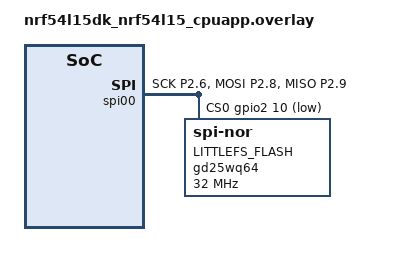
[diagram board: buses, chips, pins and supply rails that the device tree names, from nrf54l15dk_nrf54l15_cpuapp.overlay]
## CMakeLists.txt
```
cmake_minimum_required(VERSION 3.20.0)
find_package(Zephyr REQUIRED HINTS $ENV{ZEPHYR_BASE})

project(gd25wq64e_test)

target_sources(app PRIVATE 
    src/main.c
    src/eeprom.c
)
```

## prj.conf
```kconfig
CONFIG_SPI=y
CONFIG_GPIO=y
CONFIG_SERIAL=y
CONFIG_CONSOLE=y
CONFIG_UART_CONSOLE=y
CONFIG_PRINTK=y
```

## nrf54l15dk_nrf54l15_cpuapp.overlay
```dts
&pinctrl {
    spi00_default: spi00_default {
        group2 {
            psels = <NRF_PSEL(SPIM_SCK,  2, 6)>,
                    <NRF_PSEL(SPIM_MOSI, 2, 8)>,
                    <NRF_PSEL(SPIM_MISO, 2, 9)>;
            nordic,drive-mode = <NRF_DRIVE_H0H1>;
        };
    };
    spi00_sleep: spi00_sleep {
        group2 {
            psels = <NRF_PSEL(SPIM_SCK,  2, 6)>,
                    <NRF_PSEL(SPIM_MOSI, 2, 8)>,
                    <NRF_PSEL(SPIM_MISO, 2, 9)>;
            low-power-enable;
        };
    };
};

/delete-node/ &{/pin-controller/spi00_default/group1/};

&spi00 {
    status = "okay";
    compatible = "nordic,nrf-spim";

    pinctrl-0 = <&spi00_default>;
    pinctrl-1 = <&spi00_sleep>;
    pinctrl-names = "default", "sleep";

    cs-gpios = <&gpio2 10 (GPIO_ACTIVE_LOW | (1 << 8) | (1 << 9))>;

    mx25r64: mx25r6435f@0 {
        status = "disabled";
    };

    /* ---- YOUR NODE, CORRECTED ---- */
    gd25wq64: gd25wq64@0 {
        compatible = "jedec,spi-nor";
        status = "okay";
        reg = <0>;

        spi-max-frequency = <32000000>;
        jedec-id = [ c8 65 17 ];
        size = <0x800000>;

        // duplex       = <0>;
        // frame-format = <0>;

        label = "LITTLEFS_FLASH";
    };
};
```

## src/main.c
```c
#include <zephyr/kernel.h>
#include <zephyr/device.h>
#include <zephyr/drivers/spi.h>
#include <zephyr/sys/printk.h>
#include <string.h>
#include "eeprom.h"
#define FLASH_NODE DT_NODELABEL(gd25wq64)
#define TEST_ADDRESS 0x000000U
// this is  this is is  the githib to pc helloww i am bharath kumar
int main(void)
{
    int ret;
    uint8_t id[3] = {0};
    static const char write_msg[] = "Hello GD25WQ64E";
    uint8_t read_buf[sizeof(write_msg) - 1] = {0};

    printk("\n====================================\n");
    printk("    GD25WQ64E SPI FLASH TEST\n");
    printk("====================================\n");

    /* 1. SPI Ready & Power-on Delay */
    if (!spi_is_ready_dt(&(struct spi_dt_spec)SPI_DT_SPEC_GET(FLASH_NODE, SPI_WORD_SET(8), 0))) {
        printk("ERROR: SPI device not ready\n");
        return -1;
    }
    
    printk("Waiting for flash power-up...\n");
    k_msleep(50); 
    printk("SPI device ready\n");

    /* 2. Read JEDEC ID */
    printk("\nReading JEDEC ID...\n");
    ret = flash_read_jedec(id);
    if (ret != 0) {
        printk("JEDEC read failed: %d\n", ret);
        return ret;
    }
    printk("JEDEC ID: %02X %02X %02X\n", id[0], id[1], id[2]);

    if (id[0] != 0xC8 || id[1] != 0x65 || id[2] != 0x17) {
        printk("ERROR: Unexpected Flash ID\n");
        return -1;
    }
    printk("GD25WQ64E detected successfully\n");

    /* 3. Erase */
    printk("\nErasing sector...\n");
    ret = flash_sector_erase(TEST_ADDRESS);
    if (ret != 0) {
        printk("Sector erase failed: %d\n", ret);
        return ret;
    }
    printk("Sector erase successful\n");

    /* 4. Write */
    printk("\nWriting data...\n");
    printk("Message: %s\n", write_msg);
    ret = flash_page_program(TEST_ADDRESS, (const uint8_t *)write_msg, sizeof(write_msg) - 1);
    if (ret != 0) {
        printk("Page program failed: %d\n", ret);
        return ret;
    }
    printk("Data written successfully\n");

    /* 5. Sleep & Wake */
    printk("\nPutting flash into Deep Power-Down (Sleep)...\n");
    ret = flash_enter_sleep();
    if (ret != 0) return ret;

    k_msleep(1000); 
    printk("Flash is sleeping...\n");

    printk("\nWaking up flash...\n");
    ret = flash_wake_up();
    if (ret != 0) return ret;
    printk("Flash awake!\n");

    /* 6. Read & Verify */
    printk("\nReading data...\n");
    ret = flash_read_data(TEST_ADDRESS, read_buf, sizeof(read_buf));
    if (ret != 0) {
        printk("Flash read failed: %d\n", ret);
        return ret;
    }
    printk("Read data: %.*s\n", (int)sizeof(read_buf), read_buf);

    printk("\nVerifying data...\n");
    if (memcmp(write_msg, read_buf, sizeof(read_buf)) == 0) {
        printk("SUCCESS: DATA MATCHED\n");
    } else {
        printk("ERROR: DATA MISMATCH\n");
        return -1;
    }

    printk("\n====================================\n");
    printk("       FLASH TEST COMPLETED\n");
    printk("====================================\n");

    return 0;
}
```

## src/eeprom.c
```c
#include "eeprom.h"
#include <zephyr/devicetree.h>
#include <string.h>
#include <errno.h>

#define FLASH_NODE DT_NODELABEL(gd25wq64)

static const struct spi_dt_spec flash_spi =
    SPI_DT_SPEC_GET(FLASH_NODE, SPI_WORD_SET(8), 0);

/* GD25WQ64E SPI COMMANDS */
#define CMD_WREN         0x06
#define CMD_RDSR1        0x05
#define CMD_READ         0x03
#define CMD_PP           0x02
#define CMD_SE           0x20
#define CMD_RDID         0x9F
#define CMD_DP           0xB9  /* Deep Power-Down */
#define CMD_RDP          0xAB  /* Release from Deep Power-Down */

#define SR1_WIP          (1U << 0)

/* --- Private Helper Functions --- */

static int flash_read_status(uint8_t *status)
{
    uint8_t tx_buf[2] = { CMD_RDSR1, 0x00 };
    uint8_t rx_buf[2] = {0};

    struct spi_buf txb = { .buf = tx_buf, .len = sizeof(tx_buf) };
    struct spi_buf rxb = { .buf = rx_buf, .len = sizeof(rx_buf) };
    struct spi_buf_set tx = { .buffers = &txb, .count = 1 };
    struct spi_buf_set rx = { .buffers = &rxb, .count = 1 };

    int ret = spi_transceive_dt(&flash_spi, &tx, &rx);
    if (ret != 0) return ret;

    *status = rx_buf[1];
    return 0;
}

static int flash_wait_ready(void)
{
    uint8_t status = 0;

    for (int i = 0; i < 10000; i++) {
        int ret = flash_read_status(&status);
        if (ret != 0) return ret;
        if ((status & SR1_WIP) == 0) return 0;
        k_msleep(1);
    }
    return -ETIMEDOUT;
}

static int flash_write_enable(void)
{
    uint8_t cmd = CMD_WREN;
    struct spi_buf txb = { .buf = &cmd, .len = 1 };
    struct spi_buf_set tx = { .buffers = &txb, .count = 1 };
    return spi_write_dt(&flash_spi, &tx);
}

/* --- Public API Implementation --- */

int flash_read_jedec(uint8_t id[3])
{
    uint8_t tx_buf[4] = { CMD_RDID, 0x00, 0x00, 0x00 };
    uint8_t rx_buf[4] = {0};

    struct spi_buf txb = { .buf = tx_buf, .len = sizeof(tx_buf) };
    struct spi_buf rxb = { .buf = rx_buf, .len = sizeof(rx_buf) };
    struct spi_buf_set tx = { .buffers = &txb, .count = 1 };
    struct spi_buf_set rx = { .buffers = &rxb, .count = 1 };

    int ret = spi_transceive_dt(&flash_spi, &tx, &rx);
    if (ret != 0) return ret;

    id[0] = rx_buf[1];
    id[1] = rx_buf[2];
    id[2] = rx_buf[3];

    return 0;
}

int flash_sector_erase(uint32_t addr)
{
    if (addr >= FLASH_SIZE || (addr % SECTOR_SIZE) != 0) {
        return -EINVAL;
    }

    uint8_t tx_buf[4] = {
        CMD_SE,
        (uint8_t)(addr >> 16),
        (uint8_t)(addr >> 8),
        (uint8_t)addr
    };

    struct spi_buf txb = { .buf = tx_buf, .len = sizeof(tx_buf) };
    struct spi_buf_set tx = { .buffers = &txb, .count = 1 };

    int ret = flash_write_enable();
    if (ret != 0) return ret;

    ret = spi_write_dt(&flash_spi, &tx);
    if (ret != 0) return ret;

    return flash_wait_ready();
}

int flash_page_program(uint32_t addr, const uint8_t *data, size_t len)
{
    if (data == NULL || len == 0 || len > PAGE_SIZE ||
        addr >= FLASH_SIZE || len > FLASH_SIZE - addr ||
        (addr % PAGE_SIZE) + len > PAGE_SIZE) {
        return -EINVAL;
    }

    uint8_t hdr[4] = {
        CMD_PP,
        (uint8_t)(addr >> 16),
        (uint8_t)(addr >> 8),
        (uint8_t)addr
    };

    struct spi_buf txb[2] = {
        { .buf = hdr, .len = sizeof(hdr) },
        { .buf = (void *)data, .len = len }
    };

    struct spi_buf_set tx = { .buffers = txb, .count = 2 };

    int ret = flash_write_enable();
    if (ret != 0) return ret;

    ret = spi_write_dt(&flash_spi, &tx);
    if (ret != 0) return ret;

    return flash_wait_ready();
}

int flash_read_data(uint32_t addr, uint8_t *out, size_t len)
{
    if (out == NULL || len == 0 || addr >= FLASH_SIZE ||
        len > FLASH_SIZE - addr || len > PAGE_SIZE) {
        return -EINVAL;
    }

    uint8_t tx_buf[4 + PAGE_SIZE] = {0};
    uint8_t rx_buf[4 + PAGE_SIZE] = {0};

    tx_buf[0] = CMD_READ;
    tx_buf[1] = (uint8_t)(addr >> 16);
    tx_buf[2] = (uint8_t)(addr >> 8);
    tx_buf[3] = (uint8_t)addr;

    struct spi_buf txb = { .buf = tx_buf, .len = 4 + len };
    struct spi_buf rxb = { .buf = rx_buf, .len = 4 + len };
    struct spi_buf_set tx = { .buffers = &txb, .count = 1 };
    struct spi_buf_set rx = { .buffers = &rxb, .count = 1 };

    int ret = spi_transceive_dt(&flash_spi, &tx, &rx);
    if (ret != 0) return ret;

    memcpy(out, &rx_buf[4], len);
    return 0;
}

int flash_enter_sleep(void)
{
    uint8_t cmd = CMD_DP;
    struct spi_buf txb = { .buf = &cmd, .len = 1 };
    struct spi_buf_set tx = { .buffers = &txb, .count = 1 };

    int ret = spi_write_dt(&flash_spi, &tx);
    if (ret != 0) return ret;

    k_usleep(10);
    return 0;
}

int flash_wake_up(void)
{
    uint8_t cmd = CMD_RDP;
    struct spi_buf txb = { .buf = &cmd, .len = 1 };
    struct spi_buf_set tx = { .buffers = &txb, .count = 1 };

    int ret = spi_write_dt(&flash_spi, &tx);
    if (ret != 0) return ret;

    k_usleep(50);
    return 0;
}
```

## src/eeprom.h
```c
#ifndef EEPROM_H
#define EEPROM_H

#include <zephyr/kernel.h>
#include <zephyr/drivers/spi.h>
#include <stdint.h>
#include <stddef.h>

/* Flash memory size: 8 MB */
#define FLASH_SIZE       0x800000U

/* Flash sector and page sizes */
#define SECTOR_SIZE      4096U
#define PAGE_SIZE        256U

/* Public API */

/**
 * @brief Read the JEDEC ID from the flash.
 * @param id Pointer to a 3-byte array to store the ID (e.g., C8 65 17).
 * @return 0 on success, negative errno on failure.
 */
int flash_read_jedec(uint8_t id[3]);

/**
 * @brief Erase a 4KB sector.
 * @param addr Start address of the sector (must be 4KB aligned).
 * @return 0 on success, negative errno on failure.
 */
int flash_sector_erase(uint32_t addr);

/**
 * @brief Write data to the flash (max 256 bytes per page).
 * @param addr Start address.
 * @param data Pointer to data buffer.
 * @param len Length of data (max 256).
 * @return 0 on success, negative errno on failure.
 */
int flash_page_program(uint32_t addr, const uint8_t *data, size_t len);

/**
 * @brief Read data from the flash (max 256 bytes).
 * @param addr Start address.
 * @param out Pointer to output buffer.
 * @param len Length of data to read.
 * @return 0 on success, negative errno on failure.
 */
int flash_read_data(uint32_t addr, uint8_t *out, size_t len);

/**
 * @brief Put the flash into Deep Power-Down (Sleep) mode.
 * @return 0 on success, negative errno on failure.
 */
int flash_enter_sleep(void);

/**
 * @brief Wake the flash from Deep Power-Down mode.
 * @return 0 on success, negative errno on failure.
 */
int flash_wake_up(void);

#endif /* EEPROM_H */
```
